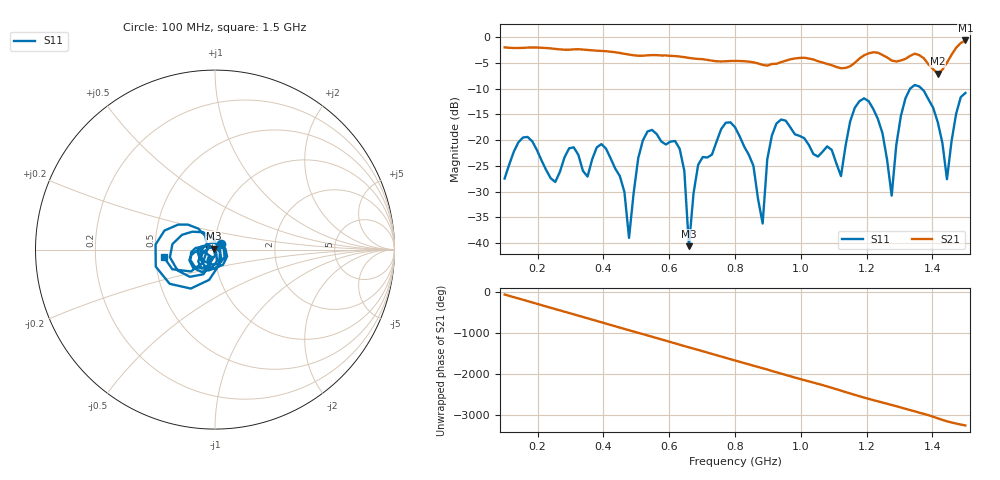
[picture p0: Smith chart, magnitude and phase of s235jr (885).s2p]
! NanoVNA-App
! Date: 2025-09-25 15:11:03
! Start: 100MHz Stop: 1,5GHz Points: 101
! S-Parameter data: F S11 S21 S12 S22
# Hz S RI R 50
!  Frequency  S11_Real  S11_Imag  S21_Real  S21_Imag  S12_Real  S12_Imag  S22_Real  S22_Imag
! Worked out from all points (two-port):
!   101 points, 100 MHz to 1.5 GHz, reference 50 ohm
!   highest |S21| = -0.62 dB at 1.5 GHz (marker M1); lowest = -7.1 dB at 1.416 GHz (marker M2)
!   |S21| within 3 dB of the highest: start of sweep to 605.3 MHz; 1.19 GHz to 1.253 GHz (63.53 MHz wide, 5.2 % of centre) (the widest 2 of 4)
!   lowest |S11| = -40.6 dB at 660 MHz (marker M3), VSWR 1.02, Z = 49.3 + j0.571 ohm
!   |S11| at or under -10 dB: start of sweep to 1.332 GHz; 1.367 GHz to end of sweep
!   S12 and S22 are empty: the file has one direction only
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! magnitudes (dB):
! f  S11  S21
! 100 MHz  -27.5  -2.0
! 170 MHz  -19.4  -2.0
! 338 MHz  -26.0  -2.4
! 408 MHz  -21.6  -2.7
! 478 MHz  -39.0  -3.4
! 520 MHz  -20.1  -3.6
! 576 MHz  -20.3  -3.5
! 632 MHz  -21.7  -3.7
! 660 MHz  -40.6  -4.0
! 688 MHz  -24.8  -4.2
! 800 MHz  -17.5  -4.6
! 884 MHz  -36.2  -5.4
! 898 MHz  -23.8  -5.5
! 926 MHz  -16.8  -5.2
! 1.038 GHz  -22.7  -4.3
! 1.122 GHz  -27.0  -6.0
! 1.192 GHz  -11.9  -3.5
! 1.276 GHz  -30.8  -4.5
! 1.332 GHz  -10.0  -3.6
! 1.416 GHz  -16.5  -7.1
! 1.444 GHz  -27.6  -4.9
! 1.5 GHz  -10.8  -0.6
